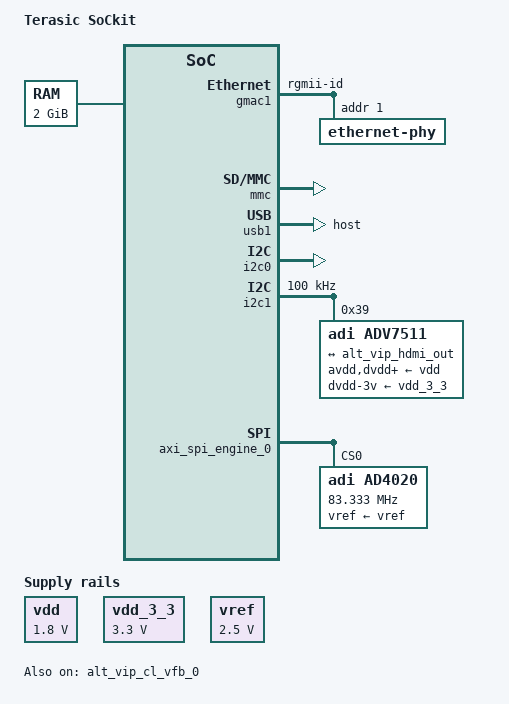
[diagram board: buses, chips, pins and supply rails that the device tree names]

#include "socfpga_cyclone5.dtsi"

/ {
	model = "Terasic SoCkit";
	compatible = "altr,socfpga-cyclone5", "altr,socfpga";

	chosen {
		bootargs = "earlyprintk";
		stdout-path = "serial0:115200n8";
	};

	memory {
		name = "memory";
		device_type = "memory";
		reg = <0x0 0x80000000>;
	};

	aliases {
		ethernet0 = &gmac1;
	};

	dma_clk: dma_clk {
		#clock-cells = <0x0>;
		compatible = "fixed-clock";
		clock-frequency = <100000000>;
		clock-output-names = "dma_clock";
	};

        spi_engine_clk: spi_engine_clk {
                #clock-cells = <0x0>;
                compatible = "fixed-clock";
                clock-frequency = <166666666>;
                clock-output-names = "spi_engine_clock";
        };

	sys_clk: sys_clk {
		#clock-cells = <0x0>;
		compatible = "fixed-clock";
		clock-frequency = <80000000>;
		clock-output-names = "sys_clock";
	};

        vdd: regulator-vdd {
                compatible = "regulator-fixed";
                regulator-name = "fixed-supply";
                regulator-min-microvolt = <1800000>;
                regulator-max-microvolt = <1800000>;
                regulator-always-on;
        };

        vdd_3_3: regulator-vdd {
                compatible = "regulator-fixed";
                regulator-name = "fixed-supply";
                regulator-min-microvolt = <3300000>;
                regulator-max-microvolt = <3300000>;
                regulator-always-on;
        };

        vref: regulator-vref {
                compatible = "regulator-fixed";
                regulator-name = "fixed-supply";
                regulator-min-microvolt = <2500000>;
                regulator-max-microvolt = <2500000>;
                regulator-always-on;
        };

	hdmi_pll: hdmi_pll {
		compatible = "altr,altera_iopll-18.1";
		#clock-cells = <1>;
			hdmi_pll_outclk0: hdmi_pll_outclk0 {
			compatible = "fixed-clock";
			#clock-cells = <0>;
			clock-frequency = <148500000>;	
			clock-output-names = "hdmi_pll-outclk0";
		}; 
	};

	soc {
		clkmgr@ffd04000 {
			clocks {
				osc1 {
					clock-frequency = <25000000>;
				};
			};
		};

		gmac1: ethernet@ff702000 {

			#address-cells = <1>;
        		#size-cells = <0>;

			status = "okay";
			phy-mode = "rgmii-id";

       			ethernet-phy@1 {
				reg = <1>;
				adi,rx-internal-delay-ps = <2000>;
				adi,tx-internal-delay-ps = <2000>;
        		};

		};

		timer0: timer0@ffc08000 {
			clock-frequency = <100000000>;
		};

		timer1: timer1@ffc09000 {
			clock-frequency = <100000000>;
		};

		timer2: timer2@ffd00000 {
			clock-frequency = <25000000>;
		};

		timer3: timer3@ffd01000 {
			clock-frequency = <25000000>;
		};

		uart0: serial0@ffc02000 {
			clock-frequency = <100000000>;
		};

		uart1: serial1@ffc03000 {
			clock-frequency = <100000000>;
		};

		mmc: dwmmc0@ff704000 {
			status = "okay";
			supports-highspeed;
			altr,dw-mshc-ciu-div = <0x3>;
			altr,dw-mshc-sdr-timing = <0x0 0x3>;
			slot@0 {
				reg = <0x0>;
				bus-width = <0x4>;
			};
		};

		usb1: usb@ffb40000 {
			status = "okay";
			enable-dynamic-fifo = <1>;
			host-rx-fifo-size = <0xa00>;
			host-perio-tx-fifo-size = <0xa00>;
			host-nperio-tx-fifo-size = <0xa00>;
			dma-desc-enable = <0>;
			dr_mode = "host";
		};

		i2c0: i2c@ffc04000 {
			status = "okay";
			speed-mode = <0>;
			#address-cells = <1>;
			#size-cells = <0>;
		};

		i2c1: i2c@ffc05000 {
			status = "okay";
			speed-mode = <0>;
			#address-cells = <1>;
			#size-cells = <0>;
			clock-frequency = <100000>;
			i2c-sda-falling-time-ns = <6000>;
			i2c-scl-falling-time-ns = <6000>;

			adv7511: adv7511@39 {
				compatible = "adi,adv7511";
/*				reg = <0x39>;*/
				reg = <0x39>, <0x3f>;
				reg-names = "primary", "edid";

				adi,input-depth = <8>;
				adi,input-colorspace = "rgb";
				adi,input-clock = "ddr";
				adi,input-style = <1>;
				adi,input-justification = "right";
				adi,clock-delay = <0>;

				avdd-supply = <&vdd>;
				dvdd-supply = <&vdd>;
				pvdd-supply = <&vdd>;
				dvdd-3v-supply = <&vdd_3_3>;
				bgvdd-supply = <&vdd>;

				status = "okay";

				ports {
					#address-cells = <1>;
					#size-cells = <0>;

					port@0 {
						reg = <0>;
						adv7511_in: endpoint {
							remote-endpoint = <&alt_vip_hdmi_out>;
						};
					}; 

					port@1 {
						reg = <1>;
						
					};

				}; 
			};
		};


		sys_hps_bridges: bridge@c0000000 {
			compatible = "simple-bus";
			reg = <0xc0000000 0x20000000>,
				<0xff200000 0x00200000>;
			reg-names = "axi_h2f", "axi_h2f_lw";
			#address-cells = <2>;
			#size-cells = <1>;
			ranges = <0x00000000 0x00000000 0xc0000000 0x00010000>,
				<0x00000001 0x00000000 0xff200000 0x00000040>,
				<0x00000001 0x00090000 0xff290000 0x00000040>,
				<0x00000001 0x00100000 0xff300000 0x00100000>;

			alt_vip_cl_vfb_0: vip@0x100090000 {
				status = "okay";
				compatible = "altr,vip-frame-buffer-2.0";
				reg = <0x00000001 0x00090000 0x00000040>;
				interrupt-parent = <&intc>;
				interrupts = <0 40 4>;
				clocks = <&hdmi_pll 0>;
				altr,bits-per-symbol = <8>;	
				altr,max-height = <720>;	
				altr,max-width = <1280>;	
				altr,mem-port-width = <128>;

				port {
					alt_vip_hdmi_out: endpoint {
						remote-endpoint = <&adv7511_in>;
					};
				};
	
			}; 


			c5soc_sys_cpu_interconnect: bridge@100100000 {
				compatible = "simple-bus";
				reg = <0x00000001 0x00100000 0x00100000>;
				#address-cells = <1>;
				#size-cells = <1>;
				ranges = <0x00020000 0x00000001 0x00120000 0x00010000>,
					<0x00000000 0x00000001 0x00100000 0x00004000>;

			        axi_spi_engine_0: axi-spi-engine@20000 {
			                compatible = "adi,axi-spi-engine-1.00.a";
					reg = <0x00020000 0x00010000>;
			                interrupt-parent = <&intc>;
			                interrupts = <0 43 4>;
			                clocks = <&spi_engine_clk>, <&spi_engine_clk>;
			                clock-names = "s_axi_aclk", "spi_clk";
			                num-cs = <1>;

			                #address-cells = <0x1>;
			                #size-cells = <0x0>;

			                ad4020: adc@0 {
			                        compatible = "adi,ad4020";
			                        reg = <0>;
			                        spi-max-frequency = <83333333>;

			                        dmas = <&rx_dma 0>;
			                        dma-names = "rx";

			                        vref-supply = <&vref>;
			                        #io-channel-cells = <1>;
			                };
			        };

			        rx_dma: rx-dmac@0 {
			                compatible = "adi,axi-dmac-1.00.a";
					reg = <0x00000000 0x00004000>;
					interrupt-parent = <&intc>;
					interrupts = <0 42 4>;
					#dma-cells = <1>;
					clocks = <&dma_clk>;

			                adi,channels {
			                        #size-cells = <0>;
			                        #address-cells = <1>;

			                        dma-channel@0 {
			                                reg = <0>;
			                                adi,source-bus-width = <32>;
			                                adi,source-bus-type = <1>;
			                                adi,destination-bus-width = <64>;
			                                adi,destination-bus-type = <0>;
			                        };
			                };
			        };


			};
		};
	};
};
